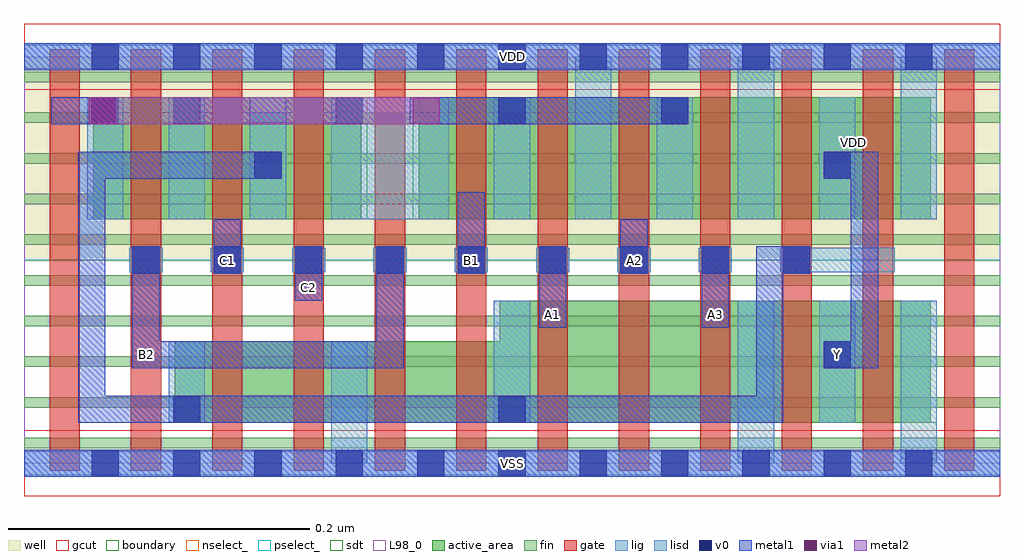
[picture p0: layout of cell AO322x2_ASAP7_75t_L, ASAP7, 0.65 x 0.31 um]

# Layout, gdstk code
import gdstk
lib = gdstk.Library(unit=1e-6, precision=2.5e-10)
def R(c, l, rs):  # rectangles x0, y0, x1, y1
    for r in rs: c.add(gdstk.rectangle(r[:2], r[2:], *l))
def A(c, l, x, y, w, h, nx, ny, dx, dy):  # array of equal rectangles
    R(c, l, [(x+i*dx, y+j*dy, x+i*dx+w, y+j*dy+h) for i in range(nx) for j in range(ny)])
def P(c, l, *ps):  # polygons
    for p in ps: c.add(gdstk.Polygon(p, *l))
well = (1, 0)
fin = (2, 0)
gate = (7, 0)
gcut = (10, 0)
active_area = (11, 0)
nselect_ = (12, 0)
pselect_ = (13, 0)
lig = (16, 0)
lisd = (17, 0)
v0 = (18, 0)
metal1 = (19, 0)
metal2 = (20, 0)
via1 = (21, 0)
sdt = (88, 0)
L98_0 = (98, 0)
boundary = (100, 0)

ao322x2_asap7_75t_l = lib.new_cell('AO322x2_ASAP7_75t_L')
R(ao322x2_asap7_75t_l, well, [(0,0.135,0.648,0.27)])
A(ao322x2_asap7_75t_l, fin, 0, 0.01, 0.648, 0.007, 1, 10, 0, 0.027)
A(ao322x2_asap7_75t_l, gate, 0.017, -0.005, 0.02, 0.28, 12, 1, 0.054, 0)
R(ao322x2_asap7_75t_l, gcut, [(0,-0.022,0.648,0.022), (0,0.248,0.648,0.292)])
R(ao322x2_asap7_75t_l, active_area, [(0.046,0.162,0.224,0.243), (0.262,0.162,0.602,0.243)])
P(ao322x2_asap7_75t_l, active_area, [(0.1,0.027),(0.1,0.081),(0.316,0.081),(0.316,0.108),(0.602,0.108),(0.602,0.027)])
R(ao322x2_asap7_75t_l, nselect_, [(0,0,0.648,0.135)])
R(ao322x2_asap7_75t_l, pselect_, [(0,0.135,0.648,0.27)])
A(ao322x2_asap7_75t_l, lig, 0.07, 0.127, 0.022, 0.016, 8, 1, 0.054, 0)
R(ao322x2_asap7_75t_l, lig, [(0,-0.008,0.648,0.008), (0.502,0.127,0.578,0.143), (0,0.262,0.648,0.278)])
A(ao322x2_asap7_75t_l, lisd, 0.042, 0.162, 0.024, 0.081, 3, 1, 0.054, 0)
A(ao322x2_asap7_75t_l, lisd, 0.312, 0.162, 0.024, 0.081, 3, 1, 0.108, 0)
A(ao322x2_asap7_75t_l, lisd, 0.366, 0.162, 0.024, 0.108, 3, 1, 0.108, 0)
R(ao322x2_asap7_75t_l, lisd, [(0.204,0,0.228,0.081), (0.474,0,0.498,0.108), (0.582,0,0.606,0.108), (0.096,0.027,0.12,0.081), (0.312,0.027,0.336,0.108), (0.528,0.027,0.552,0.108), (0.204,0.162,0.282,0.243)])
A(ao322x2_asap7_75t_l, v0, 0.045, -0.009, 0.018, 0.018, 11, 2, 0.054, 0.27)
A(ao322x2_asap7_75t_l, v0, 0.072, 0.126, 0.018, 0.018, 9, 1, 0.054, 0)
A(ao322x2_asap7_75t_l, v0, 0.099, 0.225, 0.018, 0.018, 4, 1, 0.108, 0)
R(ao322x2_asap7_75t_l, v0, [(0.099,0.027,0.117,0.045), (0.315,0.027,0.333,0.045), (0.531,0.063,0.549,0.081), (0.153,0.189,0.171,0.207), (0.531,0.189,0.549,0.207), (0.045,0.225,0.063,0.243)])
R(ao322x2_asap7_75t_l, metal1, [(0,-0.009,0.648,0.009), (0.342,0.09,0.36,0.144), (0.45,0.09,0.468,0.144), (0.18,0.108,0.198,0.144), (0.126,0.126,0.144,0.162), (0.288,0.126,0.306,0.18), (0.396,0.126,0.414,0.162), (0.018,0.225,0.063,0.243), (0.099,0.225,0.225,0.243), (0.256,0.225,0.441,0.243), (0,0.261,0.648,0.279)])
P(ao322x2_asap7_75t_l, metal1, [(0.072,0.063),(0.072,0.144),(0.09,0.144),(0.09,0.081),(0.234,0.081),(0.234,0.144),(0.252,0.144),(0.252,0.063)],
  [(0.531,0.063),(0.531,0.081),(0.549,0.081),(0.549,0.189),(0.531,0.189),(0.531,0.207),(0.567,0.207),(0.567,0.063)],
  [(0.036,0.027),(0.036,0.207),(0.171,0.207),(0.171,0.189),(0.054,0.189),(0.054,0.045),(0.486,0.045),(0.486,0.144),(0.522,0.144),(0.522,0.126),(0.504,0.126),(0.504,0.027)])
R(ao322x2_asap7_75t_l, metal2, [(0.043,0.225,0.276,0.243)])
R(ao322x2_asap7_75t_l, via1, [(0.043,0.225,0.061,0.243), (0.258,0.225,0.276,0.243)])
A(ao322x2_asap7_75t_l, sdt, 0.474, 0.027, 0.024, 0.081, 3, 1, 0.054, 0)
A(ao322x2_asap7_75t_l, sdt, 0.042, 0.162, 0.024, 0.081, 11, 1, 0.054, 0)
R(ao322x2_asap7_75t_l, sdt, [(0.096,0.027,0.12,0.081), (0.204,0.027,0.228,0.081), (0.312,0.027,0.336,0.108)])
R(ao322x2_asap7_75t_l, L98_0, [(0,0,0.648,0.27)])
R(ao322x2_asap7_75t_l, boundary, [(0,0,0.648,0.27)])
ao322x2_asap7_75t_l.add(gdstk.Label('Y', (0.54,0.072), layer=19, texttype=251))
ao322x2_asap7_75t_l.add(gdstk.Label('C2', (0.189,0.117), layer=19, texttype=251))
ao322x2_asap7_75t_l.add(gdstk.Label('C1', (0.135,0.135), layer=19, texttype=251))
ao322x2_asap7_75t_l.add(gdstk.Label('B2', (0.081,0.072), layer=19, texttype=251))
ao322x2_asap7_75t_l.add(gdstk.Label('B1', (0.297,0.135), layer=19, texttype=251))
ao322x2_asap7_75t_l.add(gdstk.Label('A3', (0.459,0.099), layer=19, texttype=251))
ao322x2_asap7_75t_l.add(gdstk.Label('A2', (0.405,0.135), layer=19, texttype=251))
ao322x2_asap7_75t_l.add(gdstk.Label('A1', (0.351,0.099), layer=19, texttype=251))
ao322x2_asap7_75t_l.add(gdstk.Label('VSS', (0.324,0), layer=19, texttype=251))
ao322x2_asap7_75t_l.add(gdstk.Label('VDD', (0.324,0.27), layer=19, texttype=251))
ao322x2_asap7_75t_l.add(gdstk.Label('VDD', (0.551,0.213), layer=1, texttype=251))
ao322x2_asap7_75t_l.add(gdstk.Label('VSS', (0.745,0.213), layer=3, texttype=251))

lib.write_gds('AO322x2_ASAP7_75t_L.gds')
